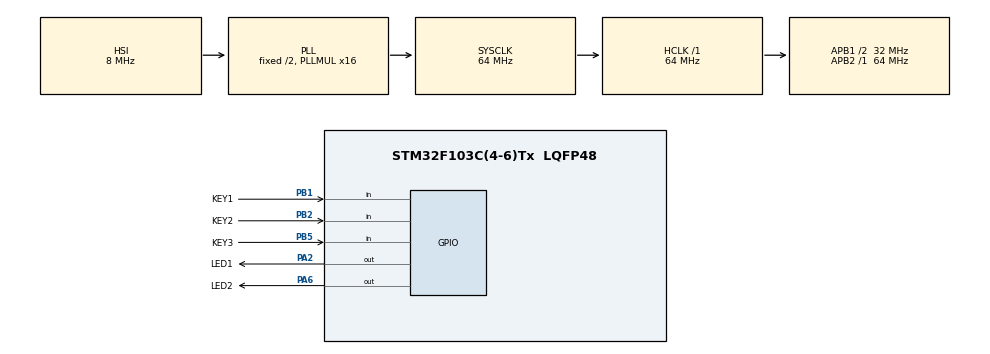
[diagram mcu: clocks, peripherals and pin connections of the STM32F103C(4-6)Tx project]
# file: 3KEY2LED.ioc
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Mcu.Family=STM32F1
Mcu.Name=STM32F103C(4-6)Tx
Mcu.Package=LQFP48
NVIC.PriorityGroup=NVIC_PRIORITYGROUP_4
PA13.Mode=Serial_Wire
PA13.Signal=SYS_JTMS-SWDIO
PA14.Mode=Serial_Wire
PA14.Signal=SYS_JTCK-SWCLK
PA2.GPIO_Label=LED1
PA2.Signal=GPIO_Output
PA6.GPIO_Label=LED2
PA6.GPIO_Speed=GPIO_SPEED_FREQ_LOW
PA6.PinState=GPIO_PIN_SET
PA6.Signal=GPIO_Output
PB1.GPIO_Label=KEY1
PB1.GPIO_PuPd=GPIO_PULLUP
PB1.Signal=GPIO_Input
PB2.GPIO_Label=KEY2
PB2.GPIO_PuPd=GPIO_PULLUP
PB2.Signal=GPIO_Input
PB5.GPIO_Label=KEY3
PB5.GPIO_PuPd=GPIO_PULLUP
PB5.Signal=GPIO_Input
PD0-OSC_IN.Mode=HSE-External-Oscillator
PD0-OSC_IN.Signal=RCC_OSC_IN
PD1-OSC_OUT.Mode=HSE-External-Oscillator
PD1-OSC_OUT.Signal=RCC_OSC_OUT
ProjectManager.HeapSize=0x200
ProjectManager.StackSize=0x400
ProjectManager.TargetToolchain=MDK-ARM V5.32
RCC.AHBFreq_Value=64000000
RCC.APB1CLKDivider=RCC_HCLK_DIV2
RCC.APB1Freq_Value=32000000
RCC.APB1TimFreq_Value=64000000
RCC.APB2Freq_Value=64000000
RCC.APB2TimFreq_Value=64000000
RCC.HCLKFreq_Value=64000000
RCC.PLLMUL=RCC_PLL_MUL16
RCC.SYSCLKFreq_VALUE=64000000
RCC.SYSCLKSource=RCC_SYSCLKSOURCE_PLLCLK
RCC.USBFreq_Value=64000000
board=custom

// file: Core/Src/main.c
/* USER CODE BEGIN Header */
/**
  ******************************************************************************
  * @file           : main.c
  * @brief          : Main program body
  ******************************************************************************
  * @attention
  *
  * Copyright (c) 2022 STMicroelectronics.
  * All rights reserved.
  *
  * This software is licensed under terms that can be found in the LICENSE file
  * in the root directory of this software component.
  * If no LICENSE file comes with this software, it is provided AS-IS.
  *
  ******************************************************************************
  */
/* USER CODE END Header */
#include "main.h"
#include "gpio.h"

void SystemClock_Config(void);

/* USER CODE BEGIN 0 */
void Delay(unsigned int t)
{
	while(t--);
}

void Scan_Keys()
{
	if(HAL_GPIO_ReadPin(GPIOB,GPIO_PIN_1)==GPIO_PIN_RESET)
	{
		Delay(1000);
		if(HAL_GPIO_ReadPin(GPIOB,GPIO_PIN_1)==GPIO_PIN_RESET)
		{
	  HAL_GPIO_TogglePin(GPIOA,GPIO_PIN_2);
		while(HAL_GPIO_ReadPin(GPIOB,GPIO_PIN_1)==GPIO_PIN_RESET);
		}
	}

	if(HAL_GPIO_ReadPin(GPIOB,GPIO_PIN_2)==GPIO_PIN_RESET)
	{
		Delay(1000);
		if(HAL_GPIO_ReadPin(GPIOB,GPIO_PIN_2)==GPIO_PIN_RESET)
		{
		HAL_GPIO_TogglePin(GPIOA,GPIO_PIN_6);
		while(HAL_GPIO_ReadPin(GPIOB,GPIO_PIN_2)==GPIO_PIN_RESET);
		}
	}

	if(HAL_GPIO_ReadPin(GPIOB,GPIO_PIN_5)==GPIO_PIN_RESET)
	{
		Delay(1000);
		if(HAL_GPIO_ReadPin(GPIOA,GPIO_PIN_2)==GPIO_PIN_RESET)
		{
		HAL_GPIO_WritePin(GPIOA,GPIO_PIN_6,GPIO_PIN_SET);
		HAL_GPIO_WritePin(GPIOA,GPIO_PIN_2,GPIO_PIN_SET);
		while(HAL_GPIO_ReadPin(GPIOB,GPIO_PIN_5)==GPIO_PIN_RESET);
		}
	}
	if(HAL_GPIO_ReadPin(GPIOB,GPIO_PIN_5)==GPIO_PIN_RESET)
	{
		Delay(1000);
		if(HAL_GPIO_ReadPin(GPIOA,GPIO_PIN_2)==GPIO_PIN_SET)
		{
		HAL_GPIO_WritePin(GPIOA,GPIO_PIN_6,GPIO_PIN_RESET);
		HAL_GPIO_WritePin(GPIOA,GPIO_PIN_2,GPIO_PIN_RESET);
			while(HAL_GPIO_ReadPin(GPIOB,GPIO_PIN_5)==GPIO_PIN_RESET);
		}
	}

//	if(HAL_GPIO_ReadPin(GPIOB,GPIO_PIN_5)==GPIO_PIN_RESET)
//	{
//		Delay(1000);
//		if(HAL_GPIO_ReadPin(GPIOB,GPIO_PIN_5)==GPIO_PIN_RESET)
//		{
//		HAL_GPIO_WritePin(GPIOA,GPIO_PIN_6,GPIO_PIN_RESET);
//		HAL_GPIO_WritePin(GPIOA,GPIO_PIN_2,GPIO_PIN_RESET);
////		HAL_GPIO_TogglePin(GPIOA,GPIO_PIN_2);
////		HAL_GPIO_TogglePin(GPIOA,GPIO_PIN_6);
//		while(HAL_GPIO_ReadPin(GPIOB,GPIO_PIN_5)==GPIO_PIN_RESET);
//		}
//	}
}
/* USER CODE END 0 */

int main(void)
{

  /* MCU Configuration--------------------------------------------------------*/

  /* Reset of all peripherals, Initializes the Flash interface and the Systick. */
  HAL_Init();

  /* Configure the system clock */
  SystemClock_Config();

  /* Initialize all configured peripherals */
  MX_GPIO_Init();

  /* Infinite loop */
  while (1)
  {
Scan_Keys();
  }
}

void SystemClock_Config(void)
{
  RCC_OscInitTypeDef RCC_OscInitStruct = {0};
  RCC_ClkInitTypeDef RCC_ClkInitStruct = {0};

  /** Initializes the RCC Oscillators according to the specified parameters
  * in the RCC_OscInitTypeDef structure.
  */
  RCC_OscInitStruct.OscillatorType = RCC_OSCILLATORTYPE_HSI;
  RCC_OscInitStruct.HSIState = RCC_HSI_ON;
  RCC_OscInitStruct.HSICalibrationValue = RCC_HSICALIBRATION_DEFAULT;
  RCC_OscInitStruct.PLL.PLLState = RCC_PLL_ON;
  RCC_OscInitStruct.PLL.PLLSource = RCC_PLLSOURCE_HSI_DIV2;
  RCC_OscInitStruct.PLL.PLLMUL = RCC_PLL_MUL16;
  if (HAL_RCC_OscConfig(&RCC_OscInitStruct) != HAL_OK)
  {
    Error_Handler();
  }

  /** Initializes the CPU, AHB and APB buses clocks
  */
  RCC_ClkInitStruct.ClockType = RCC_CLOCKTYPE_HCLK|RCC_CLOCKTYPE_SYSCLK
                              |RCC_CLOCKTYPE_PCLK1|RCC_CLOCKTYPE_PCLK2;
  RCC_ClkInitStruct.SYSCLKSource = RCC_SYSCLKSOURCE_PLLCLK;
  RCC_ClkInitStruct.AHBCLKDivider = RCC_SYSCLK_DIV1;
  RCC_ClkInitStruct.APB1CLKDivider = RCC_HCLK_DIV2;
  RCC_ClkInitStruct.APB2CLKDivider = RCC_HCLK_DIV1;

  if (HAL_RCC_ClockConfig(&RCC_ClkInitStruct, FLASH_LATENCY_2) != HAL_OK)
  {
    Error_Handler();
  }
}

void Error_Handler(void)
{
  __disable_irq();
  while (1)
  {
  }
}
